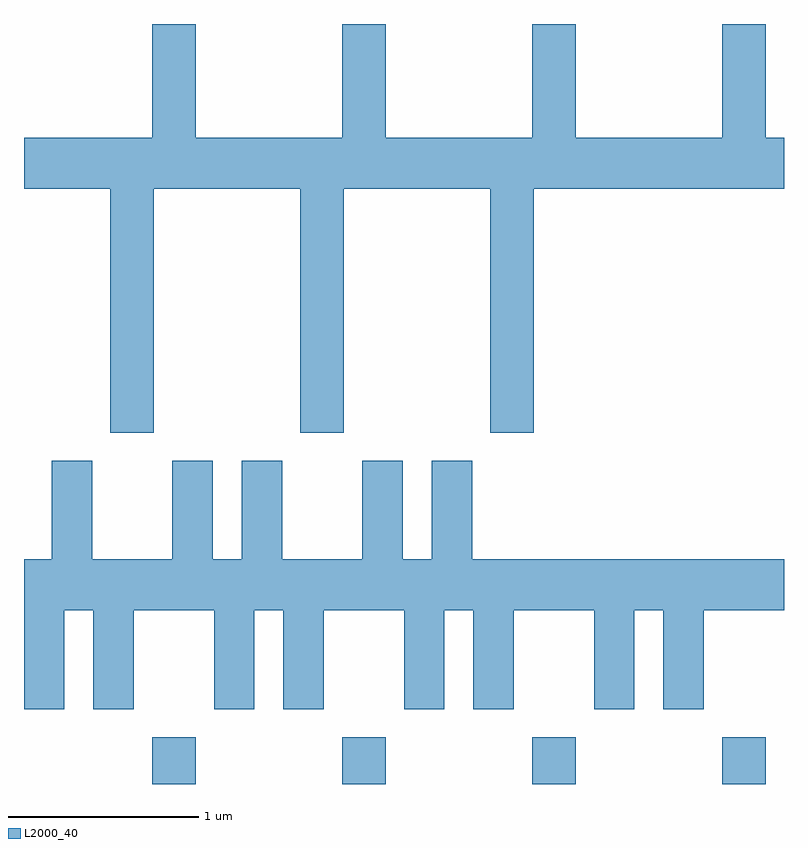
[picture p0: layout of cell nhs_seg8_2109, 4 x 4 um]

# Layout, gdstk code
import gdstk
lib = gdstk.Library(unit=1e-6, precision=1e-09)
def R(c, l, rs):  # rectangles x0, y0, x1, y1
    for r in rs: c.add(gdstk.rectangle(r[:2], r[2:], *l))
def A(c, l, x, y, w, h, nx, ny, dx, dy):  # array of equal rectangles
    R(c, l, [(x+i*dx, y+j*dy, x+i*dx+w, y+j*dy+h) for i in range(nx) for j in range(ny)])
def P(c, l, *ps):  # polygons
    for p in ps: c.add(gdstk.Polygon(p, *l))
L2000_40 = (2000, 40)

nhs_seg8_2109 = lib.new_cell('nhs_seg8_2109')
A(nhs_seg8_2109, L2000_40, 248.286, 1884.342, 0.228, 0.247, 4, 1, 1, 0)
P(nhs_seg8_2109, L2000_40, [(248.294,1887.476),(249.066,1887.476),(249.066,1886.191),(249.294,1886.191),(249.294,1887.476),(250.066,1887.476),(250.066,1886.191),(250.294,1886.191),(250.294,1887.476),(251.611,1887.476),(251.611,1887.744),(251.514,1887.744),(251.514,1888.342),(251.286,1888.342),(251.286,1887.744),(250.514,1887.744),(250.514,1888.342),(250.286,1888.342),(250.286,1887.744),(249.514,1887.744),(249.514,1888.342),(249.286,1888.342),(249.286,1887.744),(248.514,1887.744),(248.514,1888.342),(248.286,1888.342),(248.286,1887.744),(247.611,1887.744),(247.611,1887.476),(248.066,1887.476),(248.066,1886.191),(248.294,1886.191)],
  [(247.824,1885.256),(247.976,1885.256),(247.976,1884.736),(248.189,1884.736),(248.189,1885.256),(248.611,1885.256),(248.611,1884.736),(248.824,1884.736),(248.824,1885.256),(248.976,1885.256),(248.976,1884.736),(249.189,1884.736),(249.189,1885.256),(249.611,1885.256),(249.611,1884.736),(249.824,1884.736),(249.824,1885.256),(249.976,1885.256),(249.976,1884.736),(250.189,1884.736),(250.189,1885.256),(250.611,1885.256),(250.611,1884.736),(250.824,1884.736),(250.824,1885.256),(250.976,1885.256),(250.976,1884.736),(251.189,1884.736),(251.189,1885.256),(251.611,1885.256),(251.611,1885.524),(249.969,1885.524),(249.969,1886.044),(249.756,1886.044),(249.756,1885.524),(249.604,1885.524),(249.604,1886.044),(249.391,1886.044),(249.391,1885.524),(248.969,1885.524),(248.969,1886.044),(248.756,1886.044),(248.756,1885.524),(248.604,1885.524),(248.604,1886.044),(248.391,1886.044),(248.391,1885.524),(247.969,1885.524),(247.969,1886.044),(247.756,1886.044),(247.756,1885.524),(247.611,1885.524),(247.611,1884.736),(247.824,1884.736)])

lib.write_gds('nhs_seg8_2109.gds')
